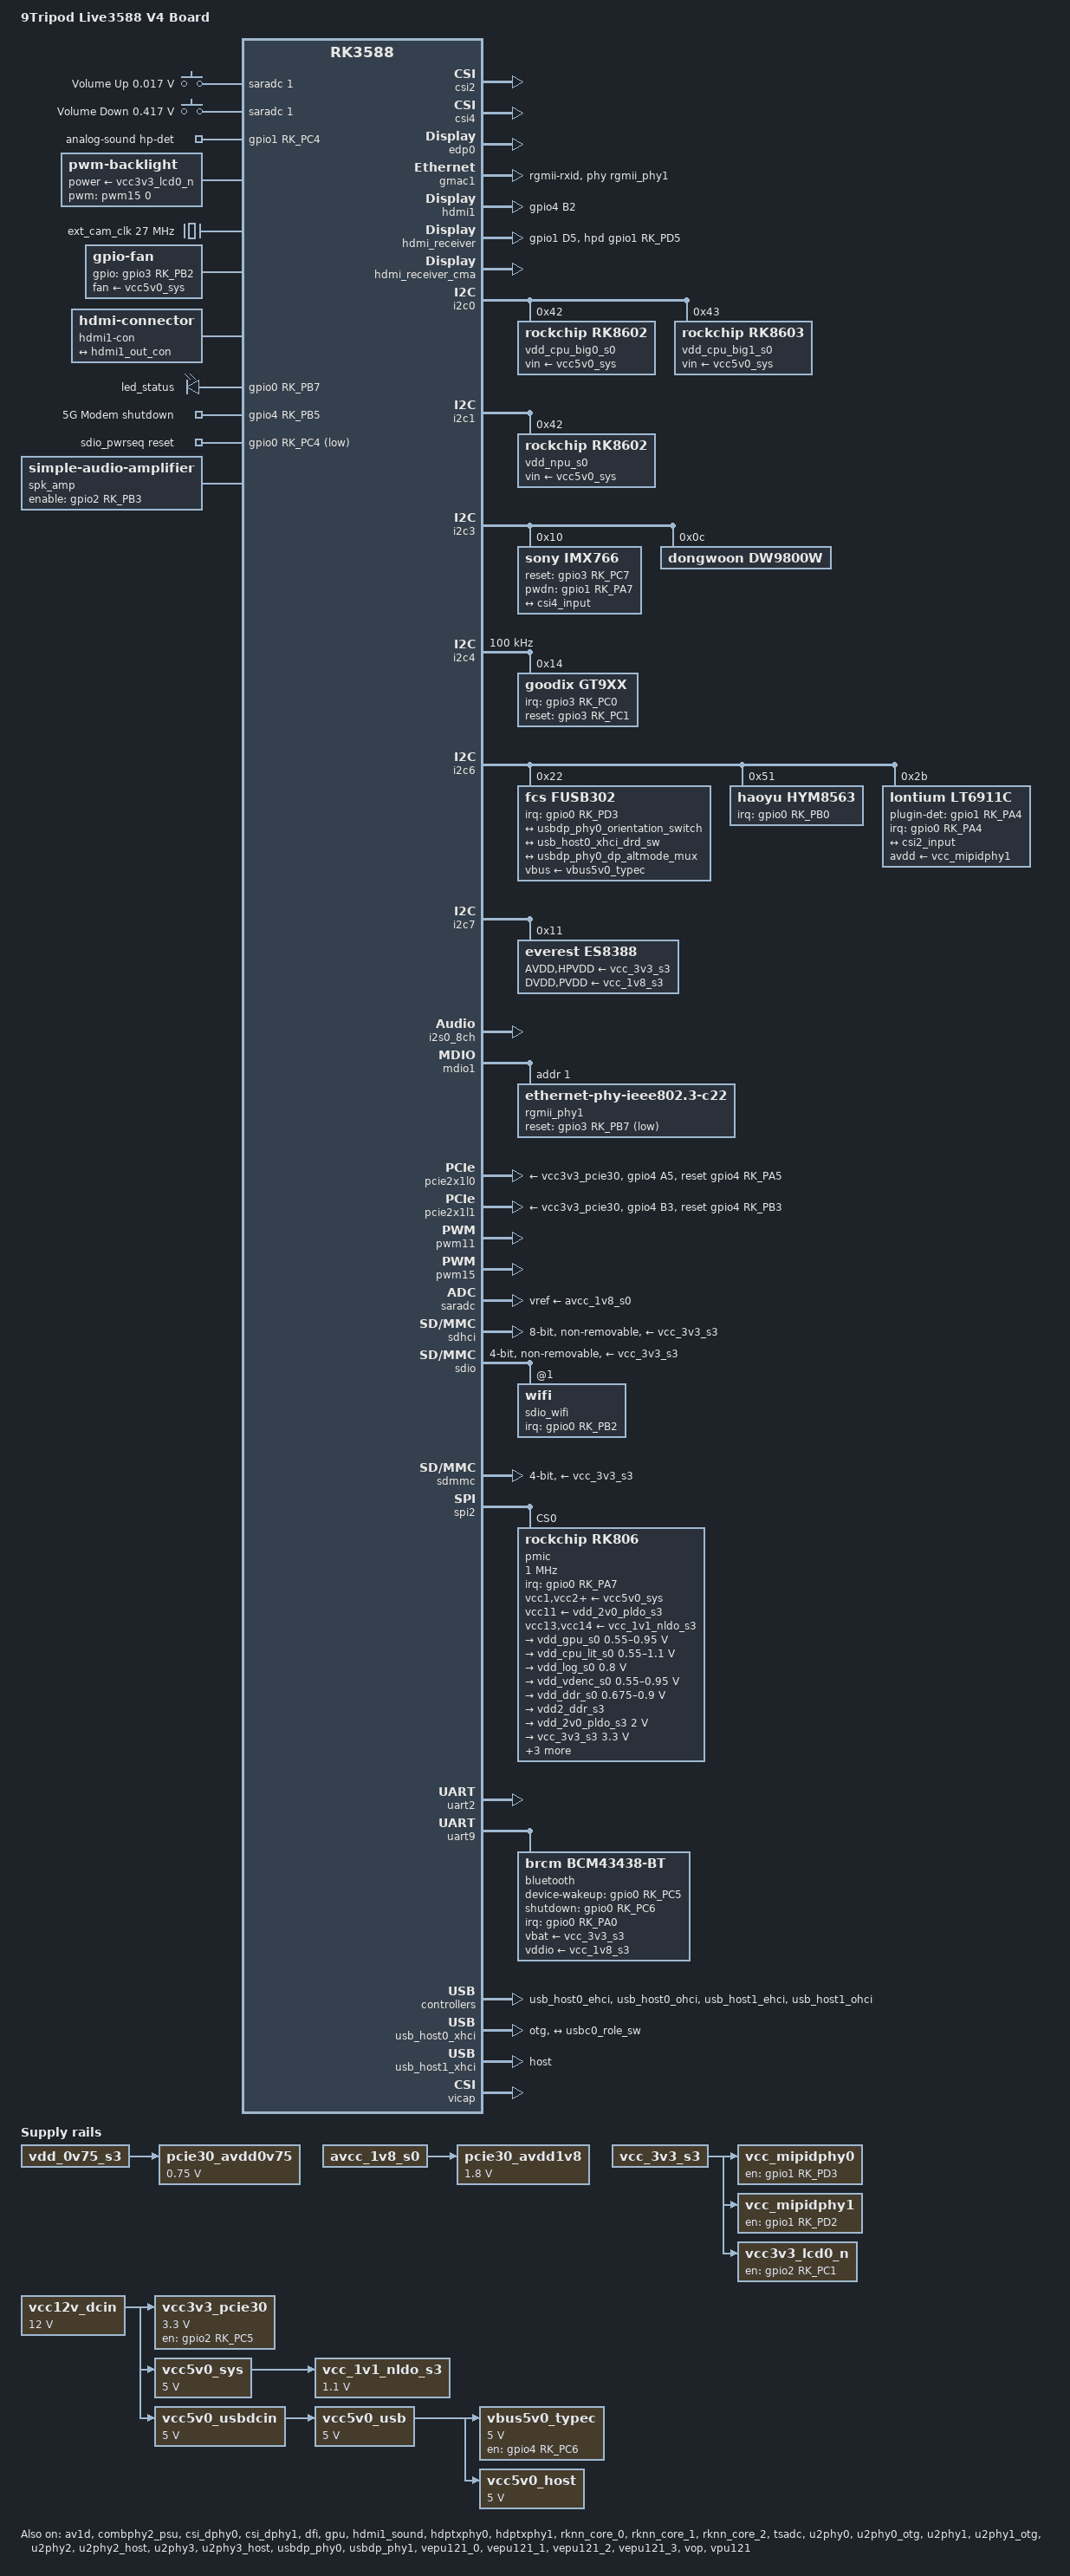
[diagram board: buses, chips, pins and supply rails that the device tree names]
// SPDX-License-Identifier: (GPL-2.0+ OR MIT)
/*
 * Copyright (c) 2026 Yan Jun <jerrysteve1101@gmail.com>
 *
 * Board summary:
 *   - PMIC:          RK806 on SPI0, 21 rails
 *   - CPU bucks:     RK8602/RK8603 on I2C0 (big cores), RK8602 on I2C1
 *   - eMMC + microSD
 *   - GbE:           GMAC1, RGMII-RXID, external PHY @ MDIO 1
 *   - WLAN/BT:       AMPAK AP6275P combo (SDIO WiFi + UART9 BT, 32k from RTC)
 *   - 5G modem:      rfkill-gpio controlled module (wwan)
 *   - Cameras:       IMX766 50MP on I2C3 (-> csi4 / csi_dphy1 / vicap4),
 *                    LT6911C HDMI-to-MIPI bridge on I2C6 (-> csi2 /
 *                    csi_dphy0 / vicap2)
 *   - HDMI1 TX output, HDMI-RX capture (HDCP1x), eDP0 panel;
 *                    DP output wired to USB-C (altmode PHY mux)
 *   - Audio:         ES8388 codec on I2C7 + I2S0
 *   - Type-C:        FUSB302 PD controller on I2C6, DP-altmode capable
 *   - Debug:         UART2 console @ 1500000 baud
 */

/dts-v1/;

#include <dt-bindings/gpio/gpio.h>
#include <dt-bindings/input/input.h>
#include <dt-bindings/interrupt-controller/irq.h>
#include <dt-bindings/leds/common.h>
#include <dt-bindings/media/video-interfaces.h>
#include <dt-bindings/pinctrl/rockchip.h>
#include <dt-bindings/soc/rockchip,vop2.h>
#include <dt-bindings/thermal/thermal.h>
#include <dt-bindings/usb/pd.h>
#include "rk8xx.h"
#include "rk3588.dtsi"

/ {
	model = "9Tripod Live3588 V4 Board";
	compatible = "9tripod,live3588-v4", "rockchip,rk3588";

	adc-keys {
		compatible = "adc-keys";
		io-channels = <&saradc 1>;
		io-channel-names = "buttons";
		keyup-threshold-microvolt = <1800000>;
		poll-interval = <100>;

		button-vol-up {
			label = "Volume Up";
			linux,code = <KEY_VOLUMEUP>;
			press-threshold-microvolt = <17000>;
		};

		button-vol-down {
			label = "Volume Down";
			linux,code = <KEY_VOLUMEDOWN>;
			press-threshold-microvolt = <417000>;
		};
	};

	aliases {
		ethernet0 = &gmac1;
		mmc0 = &sdhci;		/* eMMC */
		mmc1 = &sdmmc;		/* microSD */
		mmc2 = &sdio;		/* WiFi module */
	};

	analog-sound {
		compatible = "simple-audio-card";
		pinctrl-names = "default";
		pinctrl-0 = <&hp_det>;
		simple-audio-card,aux-devs = <&spk_amp>;
		simple-audio-card,name = "9Tripod Live3588 ES8388";
		simple-audio-card,bitclock-master = <&masterdai>;
		simple-audio-card,format = "i2s";
		simple-audio-card,frame-master = <&masterdai>;
		simple-audio-card,hp-det-gpios = <&gpio1 RK_PC4 GPIO_ACTIVE_HIGH>;
		simple-audio-card,mclk-fs = <256>;
		simple-audio-card,pin-switches = "Speaker";
		simple-audio-card,routing =
			"Speaker Amplifier INL", "LOUT2",
			"Speaker Amplifier INR", "ROUT2",
			"Speaker", "Speaker Amplifier OUTL",
			"Speaker", "Speaker Amplifier OUTR",
			"Headphones", "LOUT1",
			"Headphones", "ROUT1",
			"LINPUT1", "Main Mic",
			"LINPUT2", "Main Mic",
			"RINPUT1", "Headset Mic",
			"RINPUT2", "Headset Mic";
		simple-audio-card,widgets =
			"Microphone", "Main Mic",
			"Microphone", "Headset Mic",
			"Headphone", "Headphones",
			"Speaker", "Speaker";

		simple-audio-card,cpu {
			sound-dai = <&i2s0_8ch>;
		};

		masterdai: simple-audio-card,codec {
			sound-dai = <&es8388>;
			system-clock-frequency = <12288000>;
		};
	};

	backlight: backlight {
		compatible = "pwm-backlight";
		pwms = <&pwm15 0 25000 0>;
		brightness-levels = <
			   0   20   20   21   21   22   22   23   23   24   24   25   25
			  26   26   27   27   28   28   29   29   30   30   31   31   32
			  32   33   33   34   34   35   35   36   36   37   37   38   38
			  39   40   41   42   43   44   45   46   47   48   49   50   51
			  52   53   54   55   56   57   58   59   60   61   62   63   64
			  65   66   67   68   69   70   71   72   73   74   75   76   77
			  78   79   80   81   82   83   84   85   86   87   88   89   90
			  91   92   93   94   95   96   97   98   99  100  101  102  103
			 104  105  106  107  108  109  110  111  112  113  114  115  116
			 117  118  119  120  121  122  123  124  125  126  127  128  129
			 130  131  132  133  134  135  136  137  138  139  140  141  142
			 143  144  145  146  147  148  149  150  151  152  153  154  155
			 156  157  158  159  160  161  162  163  164  165  166  167  168
			 169  170  171  172  173  174  175  176  177  178  179  180  181
			 182  183  184  185  186  187  188  189  190  191  192  193  194
			 195  196  197  198  199  200  201  202  203  204  205  206  207
			 208  209  210  211  212  213  214  215  216  217  218  219  220
			 221  222  223  224  225  226  227  228  229  230  231  232  233
			 234  235  236  237  238  239  240  241  242  243  244  245  246
			 247  248  249  250  251  252  253  254  255>;
		default-brightness-level = <200>;
	};

	chosen {
		stdout-path = "serial2:1500000n8";
	};

	/* 27MHz MCLK for the LT6911C HDMI-to-MIPI bridge */
	ext_cam_clk: external-camera-clock {
		compatible = "fixed-clock";
		clock-frequency = <27000000>;
		clock-output-names = "CLK_CAMERA_27MHZ";
		#clock-cells = <0>;
	};

	fan: gpio-fan {
		compatible = "gpio-fan";
		gpios = <&gpio3 RK_PB2 GPIO_ACTIVE_HIGH>;
		gpio-fan,speed-map =
			<0 0>,
			<4500 1>;
		fan-supply = <&vcc5v0_sys>;
		pinctrl-names = "default";
		pinctrl-0 = <&fan_pwren>;
		#cooling-cells = <2>;
	};

	hdmi1-con {
		compatible = "hdmi-connector";
		type = "a";

		port {
			hdmi1_con_in: endpoint {
				remote-endpoint = <&hdmi1_out_con>;
			};
		};
	};

	leds {
		compatible = "gpio-leds";

		led_status: led-status {
			gpios = <&gpio0 RK_PB7 GPIO_ACTIVE_HIGH>;
			function = LED_FUNCTION_STATUS;
		};
	};

	pcie30_avdd0v75: regulator-pcie30-avdd0v75 {
		compatible = "regulator-fixed";
		regulator-name = "pcie30_avdd0v75";
		regulator-always-on;
		regulator-boot-on;
		regulator-min-microvolt = <750000>;
		regulator-max-microvolt = <750000>;
		vin-supply = <&vdd_0v75_s3>;
	};

	pcie30_avdd1v8: regulator-pcie30-avdd1v8 {
		compatible = "regulator-fixed";
		regulator-name = "pcie30_avdd1v8";
		regulator-always-on;
		regulator-boot-on;
		regulator-min-microvolt = <1800000>;
		regulator-max-microvolt = <1800000>;
		vin-supply = <&avcc_1v8_s0>;
	};

	vbus5v0_typec: regulator-vbus5v0-typec {
		compatible = "regulator-fixed";
		enable-active-high;
		gpio = <&gpio4 RK_PC6 GPIO_ACTIVE_HIGH>;
		pinctrl-names = "default";
		pinctrl-0 = <&typec5v_pwren>;
		regulator-name = "vbus5v0_typec";
		regulator-min-microvolt = <5000000>;
		regulator-max-microvolt = <5000000>;
		vin-supply = <&vcc5v0_usb>;
	};

	vcc_1v1_nldo_s3: regulator-vcc-1v1-nldo-s3 {
		compatible = "regulator-fixed";
		regulator-name = "vcc_1v1_nldo_s3";
		regulator-always-on;
		regulator-boot-on;
		regulator-min-microvolt = <1100000>;
		regulator-max-microvolt = <1100000>;
		vin-supply = <&vcc5v0_sys>;
	};

	vcc_mipidphy0: regulator-vcc-mipidphy0 {
		compatible = "regulator-fixed";
		enable-active-high;
		gpio = <&gpio1 RK_PD3 GPIO_ACTIVE_HIGH>;
		pinctrl-names = "default";
		pinctrl-0 = <&mipidphy0_pwren>;
		regulator-name = "vcc_mipidphy0";
		regulator-always-on;
		regulator-boot-on;
		vin-supply = <&vcc_3v3_s3>;
	};

	vcc_mipidphy1: regulator-vcc-mipidphy1 {
		compatible = "regulator-fixed";
		enable-active-high;
		gpio = <&gpio1 RK_PD2 GPIO_ACTIVE_HIGH>;
		pinctrl-names = "default";
		pinctrl-0 = <&mipidphy1_pwren>;
		regulator-name = "vcc_mipidphy1";
		regulator-always-on;
		regulator-boot-on;
		vin-supply = <&vcc_3v3_s3>;
	};

	vcc12v_dcin: regulator-vcc12v-dcin {
		compatible = "regulator-fixed";
		regulator-name = "vcc12v_dcin";
		regulator-always-on;
		regulator-boot-on;
		regulator-min-microvolt = <12000000>;
		regulator-max-microvolt = <12000000>;
	};

	vcc3v3_lcd0_n: regulator-vcc3v3-lcd0-n {
		compatible = "regulator-fixed";
		enable-active-high;
		gpio = <&gpio2 RK_PC1 GPIO_ACTIVE_HIGH>;
		pinctrl-names = "default";
		pinctrl-0 = <&lcd_pwren>;
		regulator-name = "vcc3v3_lcd0_n";
		regulator-always-on;
		regulator-boot-on;
		vin-supply = <&vcc_3v3_s3>;
	};

	vcc3v3_pcie30: regulator-vcc3v3-pcie30 {
		compatible = "regulator-fixed";
		enable-active-high;
		gpio = <&gpio2 RK_PC5 GPIO_ACTIVE_HIGH>;
		pinctrl-names = "default";
		pinctrl-0 = <&pcie3v3_pwren>;
		regulator-name = "vcc3v3_pcie30";
		regulator-boot-on;
		regulator-min-microvolt = <3300000>;
		regulator-max-microvolt = <3300000>;
		startup-delay-us = <5000>;
		vin-supply = <&vcc12v_dcin>;
	};

	vcc5v0_host: regulator-vcc5v0-host {
		compatible = "regulator-fixed";
		regulator-name = "vcc5v0_host";
		regulator-always-on;
		regulator-boot-on;
		regulator-min-microvolt = <5000000>;
		regulator-max-microvolt = <5000000>;
		vin-supply = <&vcc5v0_usb>;
	};

	vcc5v0_sys: regulator-vcc5v0-sys {
		compatible = "regulator-fixed";
		regulator-name = "vcc5v0_sys";
		regulator-always-on;
		regulator-boot-on;
		regulator-min-microvolt = <5000000>;
		regulator-max-microvolt = <5000000>;
		vin-supply = <&vcc12v_dcin>;
	};

	vcc5v0_usb: regulator-vcc5v0-usb {
		compatible = "regulator-fixed";
		regulator-name = "vcc5v0_usb";
		regulator-always-on;
		regulator-boot-on;
		regulator-min-microvolt = <5000000>;
		regulator-max-microvolt = <5000000>;
		vin-supply = <&vcc5v0_usbdcin>;
	};

	vcc5v0_usbdcin: regulator-vcc5v0-usbdcin {
		compatible = "regulator-fixed";
		regulator-name = "vcc5v0_usbdcin";
		regulator-always-on;
		regulator-boot-on;
		regulator-min-microvolt = <5000000>;
		regulator-max-microvolt = <5000000>;
		vin-supply = <&vcc12v_dcin>;
	};

	/*
	 * 5G modem module, GPIO power control via rfkill. Only the
	 * power GPIO is described; there is no mainline binding for
	 * the module supply-enable (GPIO2_B1) and reset (GPIO4_B6)
	 * GPIOs, so they are left out.
	 */
	rfkill_5g_modem: rfkill-5g-modem {
		compatible = "rfkill-gpio";
		label = "5G Modem";
		radio-type = "wwan";
		shutdown-gpios = <&gpio4 RK_PB5 GPIO_ACTIVE_HIGH>;
	};

	sdio_pwrseq: sdio-pwrseq {
		compatible = "mmc-pwrseq-simple";
		clocks = <&hym8563>;
		clock-names = "ext_clock";
		pinctrl-names = "default";
		pinctrl-0 = <&wifi_enable_h>;
		post-power-on-delay-ms = <200>;
		reset-gpios = <&gpio0 RK_PC4 GPIO_ACTIVE_LOW>;
	};

	spk_amp: speaker-amplifier {
		compatible = "simple-audio-amplifier";
		enable-gpios = <&gpio2 RK_PB3 GPIO_ACTIVE_HIGH>;
		pinctrl-names = "default";
		pinctrl-0 = <&spk_con>;
		sound-name-prefix = "Speaker Amplifier";
	};

};

&av1d {
	status = "okay";
};

&av1d_mmu {
	status = "okay";
};

&backlight {
	power-supply = <&vcc3v3_lcd0_n>;
};

&cpu_b0 {
	cpu-supply = <&vdd_cpu_big0_s0>;
};

&cpu_b2 {
	cpu-supply = <&vdd_cpu_big1_s0>;
};

&cpu_l0 {
	cpu-supply = <&vdd_cpu_lit_s0>;
};

/* PIPE PHY used by pcie2x1l1 (PHY_TYPE_PCIE) */
&combphy2_psu {
	status = "okay";
};

&csi2 {
	status = "okay";
};

&csi2_in {
	csi2_input: endpoint {
		bus-type = <MEDIA_BUS_TYPE_CSI2_DPHY>;
		data-lanes = <1 2 3 4>;
		remote-endpoint = <&lt6911c_out>;
	};
};

/* Camera capture path A: IMX766 -> csi4 (csi_dphy1) -> vicap4 */
&csi4 {
	status = "okay";
};

&csi4_in {
	csi4_input: endpoint {
		bus-type = <MEDIA_BUS_TYPE_CSI2_DPHY>;
		data-lanes = <1 2 3 4>;
		remote-endpoint = <&imx766_out>;
	};
};

&csi_dphy0 {
	status = "okay";
};

&csi_dphy1 {
	status = "okay";
};

/* DDR load statistics (DDR devfreq governor is not supported yet) */
&dfi {
	status = "okay";
};

&edp0 {
	force-hpd;
	status = "okay";

	aux-bus {
		panel {
			compatible = "edp-panel";
			backlight = <&backlight>;
			power-supply = <&vcc3v3_lcd0_n>;
			no-hpd;

			port {
				panel_in_edp0: endpoint {
					remote-endpoint = <&edp0_out_panel>;
				};
			};
		};
	};
};

&edp0_in {
	edp0_in_vp2: endpoint {
		remote-endpoint = <&vp2_out_edp0>;
	};
};

&edp0_out {
	edp0_out_panel: endpoint {
		remote-endpoint = <&panel_in_edp0>;
	};
};

&gmac1 {
	clock_in_out = "output";
	phy-handle = <&rgmii_phy1>;
	phy-mode = "rgmii-rxid";
	pinctrl-0 = <&gmac1_miim
		     &gmac1_tx_bus2
		     &gmac1_rx_bus2
		     &gmac1_rgmii_clk
		     &gmac1_rgmii_bus>;
	pinctrl-names = "default";
	tx_delay = <0x44>;
	status = "okay";
};

&gpu {
	mali-supply = <&vdd_gpu_s0>;
	status = "okay";
};

/* Display output: HDMI1 */
&hdmi1 {
	frl-enable-gpios = <&gpio4 RK_PB2 GPIO_ACTIVE_HIGH>;
	pinctrl-names = "default";
	pinctrl-0 = <&hdmim2_tx1_cec &hdmim0_tx1_hpd &hdmi1_tx_on_h
		     &hdmim1_tx1_scl &hdmim1_tx1_sda>;
	status = "okay";
};

&hdmi1_in {
	hdmi1_in_vp1: endpoint {
		remote-endpoint = <&vp1_out_hdmi1>;
	};
};

&hdmi1_out {
	hdmi1_out_con: endpoint {
		remote-endpoint = <&hdmi1_con_in>;
	};
};

&hdmi1_sound {
	status = "okay";
};

&hdmi_receiver {
	hpd-gpios = <&gpio1 RK_PD5 GPIO_ACTIVE_HIGH>;
	pinctrl-0 = <&hdmim1_rx_cec &hdmim1_rx_hpdin &hdmim1_rx_scl &hdmim1_rx_sda &hdmirx_det>;
	pinctrl-names = "default";
	status = "okay";
};

/* HDMI input capture */
&hdmi_receiver_cma {
	status = "okay";
};

/* PIPE PHY used by edp0 (dp mode) */
&hdptxphy0 {
	status = "okay";
};

&hdptxphy1 {
	status = "okay";
};

&i2c0 {
	pinctrl-names = "default";
	pinctrl-0 = <&i2c0m2_xfer>;
	status = "okay";

	vdd_cpu_big0_s0: regulator@42 {
		compatible = "rockchip,rk8602";
		reg = <0x42>;
		fcs,suspend-voltage-selector = <1>;
		regulator-name = "vdd_cpu_big0_s0";
		regulator-always-on;
		regulator-boot-on;
		regulator-min-microvolt = <550000>;
		regulator-max-microvolt = <1100000>;
		regulator-ramp-delay = <2300>;
		vin-supply = <&vcc5v0_sys>;

		regulator-state-mem {
			regulator-off-in-suspend;
		};
	};

	vdd_cpu_big1_s0: regulator@43 {
		compatible = "rockchip,rk8603", "rockchip,rk8602";
		reg = <0x43>;
		fcs,suspend-voltage-selector = <1>;
		regulator-name = "vdd_cpu_big1_s0";
		regulator-always-on;
		regulator-boot-on;
		regulator-min-microvolt = <550000>;
		regulator-max-microvolt = <1100000>;
		regulator-ramp-delay = <2300>;
		vin-supply = <&vcc5v0_sys>;

		regulator-state-mem {
			regulator-off-in-suspend;
		};
	};
};

&i2c1 {
	pinctrl-names = "default";
	pinctrl-0 = <&i2c1m2_xfer>;
	status = "okay";

	vdd_npu_s0: regulator@42 {
		compatible = "rockchip,rk8602";
		reg = <0x42>;
		fcs,suspend-voltage-selector = <1>;
		regulator-name = "vdd_npu_s0";
		regulator-always-on;
		regulator-boot-on;
		regulator-min-microvolt = <550000>;
		regulator-max-microvolt = <950000>;
		regulator-ramp-delay = <2300>;
		vin-supply = <&vcc5v0_sys>;

		regulator-state-mem {
			regulator-off-in-suspend;
		};
	};
};

/* Camera path A: IMX766 50MP sensor + VCM + OTP */
&i2c3 {
	status = "okay";

	/*
	 * Mainline has no imx766 driver yet; the node is kept for the
	 * capture pipeline description and for when support lands.
	 */
	imx766: camera-sensor@10 {
		compatible = "sony,imx766";
		reg = <0x10>;
		assigned-clocks = <&cru CLK_MIPI_CAMARAOUT_M3>;
		assigned-clock-rates = <24000000>;
		clocks = <&cru CLK_MIPI_CAMARAOUT_M3>;
		pinctrl-names = "default";
		pinctrl-0 = <&cam0_rst &mipim0_camera3_clk>;
		reset-gpios = <&gpio3 RK_PC7 GPIO_ACTIVE_HIGH>;
		pwdn-gpios = <&gpio1 RK_PA7 GPIO_ACTIVE_HIGH>;
		orientation = <2>; /* External */

		port {
			imx766_out: endpoint {
				data-lanes = <1 2 3 4>;
				remote-endpoint = <&csi4_input>;
			};
		};
	};

	/*
	 * Focus VCM of the IMX766 camera module.
	 * Mainline has dw9768/dw9807 drivers but no dw9800w support yet.
	 */
	dw9800w: lens-focus@c {
		compatible = "dongwoon,dw9800w";
		reg = <0x0c>;
	};
};

/* Touch panel */
&i2c4 {
	clock-frequency = <100000>;
	pinctrl-names = "default";
	pinctrl-0 = <&i2c4m1_xfer>;
	status = "okay";

	gt9xx: touchscreen@14 {
		/*
		 * The mainline goodix driver matches on concrete chip
		 * names (gt911, gt9271, ...), so this generic name needs
		 * to be updated once the actual controller on the touch
		 * panel is identified.
		 */
		compatible = "goodix,gt9xx";
		reg = <0x14>;
		interrupt-parent = <&gpio3>;
		interrupts = <RK_PC0 IRQ_TYPE_EDGE_FALLING>;
		irq-gpios = <&gpio3 RK_PC0 GPIO_ACTIVE_HIGH>;
		reset-gpios = <&gpio3 RK_PC1 GPIO_ACTIVE_HIGH>;
		touchscreen-size-x = <1080>;
		touchscreen-size-y = <1920>;
		pinctrl-names = "default";
		pinctrl-0 = <&touch_int &touch_rst>;
	};
};

/* Type-C PD, RTC and HDMI-to-MIPI bridge */
&i2c6 {
	status = "okay";

	fusb302: typec-portc@22 {
		compatible = "fcs,fusb302";
		reg = <0x22>;
		interrupt-parent = <&gpio0>;
		interrupts = <RK_PD3 IRQ_TYPE_LEVEL_LOW>;
		pinctrl-names = "default";
		pinctrl-0 = <&usbc0_int>;
		vbus-supply = <&vbus5v0_typec>;

		usb_con: connector {
			compatible = "usb-c-connector";
			data-role = "dual";
			label = "USB-C";
			power-role = "dual";
			try-power-role = "sink";
			source-pdos = <PDO_FIXED(5000, 3000, PDO_FIXED_USB_COMM)>;
			sink-pdos = <PDO_FIXED(5000, 3000, PDO_FIXED_USB_COMM)>;
			op-sink-microwatt = <1000000>;

			ports {
				#address-cells = <1>;
				#size-cells = <0>;

				port@0 {
					reg = <0>;

					usbc0_orien_sw: endpoint {
						remote-endpoint = <&usbdp_phy0_orientation_switch>;
					};
				};

				port@1 {
					reg = <1>;

					usbc0_role_sw: endpoint {
						remote-endpoint = <&usb_host0_xhci_drd_sw>;
					};
				};

				/*
				 * DP altmode on the USB-C connector. Only the PHY
				 * mux wiring is described; the dp0 controller is
				 * not wired up yet, matching the level of
				 * mainline support.
				 */
				port@2 {
					reg = <2>;

					dp_altmode_mux: endpoint {
						remote-endpoint = <&usbdp_phy0_dp_altmode_mux>;
					};
				};
			};
		};
	};

	hym8563: rtc@51 {
		compatible = "haoyu,hym8563";
		reg = <0x51>;
		#clock-cells = <0>;
		clock-output-names = "hym8563";
		pinctrl-names = "default";
		pinctrl-0 = <&hym8563_int>;
		interrupt-parent = <&gpio0>;
		interrupts = <RK_PB0 IRQ_TYPE_LEVEL_LOW>;
		wakeup-source;
	};

	/*
	 * HDMI input is converted to MIPI CSI-2 by an LT6911C and is
	 * captured through the csi2/vicap pipeline. Mainline has no
	 * LT6911C driver yet, so this node only describes the board
	 * wiring.
	 */
	lt6911c: hdmi-mipi-bridge@2b {
		compatible = "lontium,lt6911c";
		reg = <0x2b>;
		clocks = <&ext_cam_clk>;
		clock-names = "xvclk";
		interrupt-parent = <&gpio0>;
		interrupts = <RK_PA4 IRQ_TYPE_EDGE_RISING>;
		plugin-det-gpios = <&gpio1 RK_PA4 GPIO_ACTIVE_HIGH>;
		avdd-supply = <&vcc_mipidphy1>;
		pinctrl-names = "default";
		pinctrl-0 = <&hdmi_plugin_det>;

		port {
			lt6911c_out: endpoint {
				data-lanes = <1 2 3 4>;
				remote-endpoint = <&csi2_input>;
			};
		};
	};
};

/* Audio codec */
&i2c7 {
	status = "okay";

	es8388: audio-codec@11 {
		compatible = "everest,es8388", "everest,es8328";
		reg = <0x11>;
		clocks = <&cru I2S0_8CH_MCLKOUT>;
		assigned-clocks = <&cru I2S0_8CH_MCLKOUT>;
		assigned-clock-rates = <12288000>;
		AVDD-supply = <&vcc_3v3_s3>;
		DVDD-supply = <&vcc_1v8_s3>;
		HPVDD-supply = <&vcc_3v3_s3>;
		PVDD-supply = <&vcc_1v8_s3>;
		#sound-dai-cells = <0>;
	};
};

&i2s0_8ch {
	pinctrl-names = "default";
	pinctrl-0 = <&i2s0_lrck
		     &i2s0_mclk
		     &i2s0_sclk
		     &i2s0_sdi0
		     &i2s0_sdo0>;
	status = "okay";
};

&mdio1 {
	rgmii_phy1: ethernet-phy@1 {
		compatible = "ethernet-phy-ieee802.3-c22";
		reg = <0x1>;
		reset-assert-us = <20000>;
		reset-deassert-us = <100000>;
		reset-gpios = <&gpio3 RK_PB7 GPIO_ACTIVE_LOW>;
	};
};

&package_thermal {
	polling-delay = <1000>;

	trips {
		package_warm: package-warm {
			temperature = <60000>;
			hysteresis = <2000>;
			type = "active";
		};
	};

	cooling-maps {
		map0 {
			trip = <&package_warm>;
			cooling-device = <&fan THERMAL_NO_LIMIT THERMAL_NO_LIMIT>;
		};
	};
};

&pcie2x1l0 {
	reset-gpios = <&gpio4 RK_PA5 GPIO_ACTIVE_HIGH>;
	vpcie3v3-supply = <&vcc3v3_pcie30>;
	pinctrl-names = "default";
	pinctrl-0 = <&pcie2_0_rst>;
	status = "okay";
};

&pcie2x1l1 {
	reset-gpios = <&gpio4 RK_PB3 GPIO_ACTIVE_HIGH>;
	vpcie3v3-supply = <&vcc3v3_pcie30>;
	pinctrl-names = "default";
	pinctrl-0 = <&pcie2_1_rst>;
	status = "okay";
};

&pinctrl {
	bt {
		bt_reset_pin: bt-reset-pin {
			rockchip,pins = <0 RK_PC6 RK_FUNC_GPIO &pcfg_pull_none>;
		};

		bt_wake_pin: bt-wake-pin {
			rockchip,pins = <0 RK_PC5 RK_FUNC_GPIO &pcfg_pull_up>;
		};

		bt_wake_host_irq: bt-wake-host-irq {
			rockchip,pins = <0 RK_PA0 RK_FUNC_GPIO &pcfg_pull_down>;
		};
	};

	cam {
		cam0_rst: cam0-rst {
			rockchip,pins = <3 RK_PC7 RK_FUNC_GPIO &pcfg_pull_none>;
		};

		hdmi_plugin_det: hdmi-plugin-det {
			rockchip,pins = <1 RK_PA4 RK_FUNC_GPIO &pcfg_pull_none>;
		};

		mipidphy0_pwren: mipidphy0-pwren {
			rockchip,pins = <1 RK_PD3 RK_FUNC_GPIO &pcfg_pull_none>;
		};

		mipidphy1_pwren: mipidphy1-pwren {
			rockchip,pins = <1 RK_PD2 RK_FUNC_GPIO &pcfg_pull_none>;
		};
	};

	fan {
		fan_pwren: fan-pwren {
			rockchip,pins = <3 RK_PB2 RK_FUNC_GPIO &pcfg_pull_none>;
		};
	};

	hdmirx {
		hdmirx_det: hdmirx-5v-detection {
			rockchip,pins = <1 RK_PD5 RK_FUNC_GPIO &pcfg_pull_none>;
		};
	};

	hdmi {
		hdmi1_tx_on_h: hdmi1-tx-on-h {
			rockchip,pins = <4 RK_PB2 RK_FUNC_GPIO &pcfg_pull_none>;
		};
	};

	headphone {
		hp_det: hp-det {
			rockchip,pins = <1 RK_PC4 RK_FUNC_GPIO &pcfg_pull_none>;
		};

		spk_con: spk-con {
			rockchip,pins = <2 RK_PB3 RK_FUNC_GPIO &pcfg_pull_none>;
		};
	};

	hym8563 {
		hym8563_int: hym8563-int {
			rockchip,pins = <0 RK_PB0 RK_FUNC_GPIO &pcfg_pull_up>;
		};
	};

	lcd {
		lcd_pwren: lcd-pwren {
			rockchip,pins = <2 RK_PC1 RK_FUNC_GPIO &pcfg_pull_none>;
		};
	};

	pcie {
		pcie3v3_pwren: pcie3v3-pwren {
			rockchip,pins = <2 RK_PC5 RK_FUNC_GPIO &pcfg_pull_none>;
		};

		pcie2_0_rst: pcie2-0-rst {
			rockchip,pins = <4 RK_PA5 RK_FUNC_GPIO &pcfg_pull_none>;
		};

		pcie2_1_rst: pcie2-1-rst {
			rockchip,pins = <4 RK_PB3 RK_FUNC_GPIO &pcfg_pull_up>;
		};
	};

	touchscreen {
		touch_int: touch-int {
			rockchip,pins = <3 RK_PC0 RK_FUNC_GPIO &pcfg_pull_none>;
		};

		touch_rst: touch-rst {
			rockchip,pins = <3 RK_PC1 RK_FUNC_GPIO &pcfg_pull_up>;
		};
	};

	usb-typec {
		typec5v_pwren: typec5v-pwren {
			rockchip,pins = <4 RK_PC6 RK_FUNC_GPIO &pcfg_pull_none>;
		};

		usbc0_int: usbc0-int {
			rockchip,pins = <0 RK_PD3 RK_FUNC_GPIO &pcfg_pull_up>;
		};
	};

	wireless-wlan {
		wifi_enable_h: wifi-enable-h {
			rockchip,pins = <0 RK_PC4 RK_FUNC_GPIO &pcfg_pull_none>;
		};

		wifi_host_wake_irq: wifi-host-wake-irq {
			rockchip,pins = <0 RK_PB2 RK_FUNC_GPIO &pcfg_pull_none>;
		};
	};
};

/*
 * PWM11 is routed to an IR receiver circuit that requires PWM
 * capture based decoding, which the mainline gpio-ir-receiver
 * driver does not support. PWM11 is left as a plain PWM channel
 * for now.
 */
&pwm11 {
	pinctrl-names = "default";
	pinctrl-0 = <&pwm11m1_pins>;
	status = "okay";
};

&pwm15 {
	pinctrl-names = "default";
	pinctrl-0 = <&pwm15m2_pins>;
	status = "okay";
};

&rknn_core_0 {
	npu-supply = <&vdd_npu_s0>;
	sram-supply = <&vdd_npu_s0>;
	status = "okay";
};

&rknn_core_1 {
	npu-supply = <&vdd_npu_s0>;
	sram-supply = <&vdd_npu_s0>;
	status = "okay";
};

&rknn_core_2 {
	npu-supply = <&vdd_npu_s0>;
	sram-supply = <&vdd_npu_s0>;
	status = "okay";
};

&rknn_mmu_0 {
	status = "okay";
};

&rknn_mmu_1 {
	status = "okay";
};

&rknn_mmu_2 {
	status = "okay";
};

&saradc {
	vref-supply = <&avcc_1v8_s0>;
	status = "okay";
};

&sdhci {
	bus-width = <8>;
	no-sdio;
	no-sd;
	non-removable;
	max-frequency = <200000000>;
	mmc-hs400-1_8v;
	mmc-hs400-enhanced-strobe;
	vmmc-supply = <&vcc_3v3_s3>;
	vqmmc-supply = <&vcc_1v8_s3>;
	status = "okay";
};

/* WiFi part of the AMPAK AP6275P module */
&sdio {
	#address-cells = <1>;
	#size-cells = <0>;
	bus-width = <4>;
	cap-sd-highspeed;
	cap-sdio-irq;
	keep-power-in-suspend;
	max-frequency = <150000000>;
	mmc-pwrseq = <&sdio_pwrseq>;
	no-mmc;
	no-sd;
	non-removable;
	sd-uhs-sdr104;
	vmmc-supply = <&vcc_3v3_s3>;
	vqmmc-supply = <&vcc_1v8_s3>;
	status = "okay";

	sdio_wifi: wifi@1 {
		reg = <1>;
		interrupt-parent = <&gpio0>;
		interrupts = <RK_PB2 IRQ_TYPE_EDGE_RISING>;
		interrupt-names = "host-wake";
		pinctrl-names = "default";
		pinctrl-0 = <&wifi_host_wake_irq>;
	};
};

&sdmmc {
	bus-width = <4>;
	cap-mmc-highspeed;
	cap-sd-highspeed;
	disable-wp;
	no-sdio;
	no-mmc;
	sd-uhs-sdr104;
	vmmc-supply = <&vcc_3v3_s3>;
	vqmmc-supply = <&vccio_sd_s0>;
	status = "okay";
};

&spi2 {
	status = "okay";

	pmic@0 {
		compatible = "rockchip,rk806";
		reg = <0x0>;
		interrupt-parent = <&gpio0>;
		interrupts = <RK_PA7 IRQ_TYPE_LEVEL_LOW>;
		gpio-controller;
		#gpio-cells = <2>;
		pinctrl-names = "default";
		pinctrl-0 = <&pmic_pins>, <&rk806_dvs1_null>,
			    <&rk806_dvs2_null>, <&rk806_dvs3_null>;
		spi-max-frequency = <1000000>;
		system-power-controller;
		rockchip,reset-mode = <RK806_RESET>;
		vcc1-supply = <&vcc5v0_sys>;
		vcc2-supply = <&vcc5v0_sys>;
		vcc3-supply = <&vcc5v0_sys>;
		vcc4-supply = <&vcc5v0_sys>;
		vcc5-supply = <&vcc5v0_sys>;
		vcc6-supply = <&vcc5v0_sys>;
		vcc7-supply = <&vcc5v0_sys>;
		vcc8-supply = <&vcc5v0_sys>;
		vcc9-supply = <&vcc5v0_sys>;
		vcc10-supply = <&vcc5v0_sys>;
		vcc11-supply = <&vdd_2v0_pldo_s3>;
		vcc12-supply = <&vcc5v0_sys>;
		vcc13-supply = <&vcc_1v1_nldo_s3>;
		vcc14-supply = <&vcc_1v1_nldo_s3>;
		vcca-supply = <&vcc5v0_sys>;

		rk806_dvs1_null: dvs1-null-pins {
			pins = "gpio_pwrctrl1";
			function = "pin_fun0";
		};

		rk806_dvs2_null: dvs2-null-pins {
			pins = "gpio_pwrctrl2";
			function = "pin_fun0";
		};

		rk806_dvs3_null: dvs3-null-pins {
			pins = "gpio_pwrctrl3";
			function = "pin_fun0";
		};

		regulators {
			vdd_gpu_s0: dcdc-reg1 {
				regulator-boot-on;
				regulator-min-microvolt = <550000>;
				regulator-max-microvolt = <950000>;
				regulator-ramp-delay = <12500>;
				regulator-name = "vdd_gpu_s0";
				regulator-enable-ramp-delay = <400>;

				regulator-state-mem {
					regulator-off-in-suspend;
				};
			};

			vdd_cpu_lit_s0: dcdc-reg2 {
				regulator-always-on;
				regulator-boot-on;
				regulator-min-microvolt = <550000>;
				regulator-max-microvolt = <1100000>;
				regulator-ramp-delay = <12500>;
				regulator-name = "vdd_cpu_lit_s0";

				regulator-state-mem {
					regulator-off-in-suspend;
				};
			};

			vdd_log_s0: dcdc-reg3 {
				regulator-always-on;
				regulator-boot-on;
				regulator-min-microvolt = <800000>;
				regulator-max-microvolt = <800000>;
				regulator-ramp-delay = <12500>;
				regulator-name = "vdd_log_s0";

				regulator-state-mem {
					regulator-off-in-suspend;
				};
			};

			vdd_vdenc_s0: dcdc-reg4 {
				regulator-always-on;
				regulator-boot-on;
				regulator-min-microvolt = <550000>;
				regulator-max-microvolt = <950000>;
				regulator-ramp-delay = <12500>;
				regulator-name = "vdd_vdenc_s0";

				regulator-state-mem {
					regulator-off-in-suspend;
				};
			};

			vdd_ddr_s0: dcdc-reg5 {
				regulator-always-on;
				regulator-boot-on;
				regulator-min-microvolt = <675000>;
				regulator-max-microvolt = <900000>;
				regulator-ramp-delay = <12500>;
				regulator-name = "vdd_ddr_s0";

				regulator-state-mem {
					regulator-off-in-suspend;
				};
			};

			vdd2_ddr_s3: dcdc-reg6 {
				regulator-always-on;
				regulator-boot-on;
				regulator-name = "vdd2_ddr_s3";

				regulator-state-mem {
					regulator-on-in-suspend;
				};
			};

			vdd_2v0_pldo_s3: dcdc-reg7 {
				regulator-always-on;
				regulator-boot-on;
				regulator-min-microvolt = <2000000>;
				regulator-max-microvolt = <2000000>;
				regulator-name = "vdd_2v0_pldo_s3";

				regulator-state-mem {
					regulator-on-in-suspend;
				};
			};

			vcc_3v3_s3: dcdc-reg8 {
				regulator-always-on;
				regulator-boot-on;
				regulator-min-microvolt = <3300000>;
				regulator-max-microvolt = <3300000>;
				regulator-name = "vcc_3v3_s3";

				regulator-state-mem {
					regulator-on-in-suspend;
				};
			};

			vddq_ddr_s0: dcdc-reg9 {
				regulator-always-on;
				regulator-boot-on;
				regulator-name = "vddq_ddr_s0";

				regulator-state-mem {
					regulator-off-in-suspend;
				};
			};

			vcc_1v8_s3: dcdc-reg10 {
				regulator-always-on;
				regulator-boot-on;
				regulator-min-microvolt = <1800000>;
				regulator-max-microvolt = <1800000>;
				regulator-name = "vcc_1v8_s3";

				regulator-state-mem {
					regulator-on-in-suspend;
				};
			};

			avcc_1v8_s0: pldo-reg1 {
				regulator-always-on;
				regulator-boot-on;
				regulator-min-microvolt = <1800000>;
				regulator-max-microvolt = <1800000>;
				regulator-name = "avcc_1v8_s0";

				regulator-state-mem {
					regulator-off-in-suspend;
				};
			};

			vcc_1v8_s0: pldo-reg2 {
				regulator-always-on;
				regulator-boot-on;
				regulator-min-microvolt = <1800000>;
				regulator-max-microvolt = <1800000>;
				regulator-name = "vcc_1v8_s0";

				regulator-state-mem {
					regulator-off-in-suspend;
				};
			};

			avdd_1v2_s0: pldo-reg3 {
				regulator-always-on;
				regulator-boot-on;
				regulator-min-microvolt = <1200000>;
				regulator-max-microvolt = <1200000>;
				regulator-name = "avdd_1v2_s0";

				regulator-state-mem {
					regulator-off-in-suspend;
				};
			};

			vcc_3v3_s0: pldo-reg4 {
				regulator-always-on;
				regulator-boot-on;
				regulator-min-microvolt = <3300000>;
				regulator-max-microvolt = <3300000>;
				regulator-name = "vcc_3v3_s0";

				regulator-state-mem {
					regulator-off-in-suspend;
				};
			};

			vccio_sd_s0: pldo-reg5 {
				regulator-always-on;
				regulator-boot-on;
				regulator-min-microvolt = <1800000>;
				regulator-max-microvolt = <3300000>;
				regulator-ramp-delay = <12500>;
				regulator-name = "vccio_sd_s0";

				regulator-state-mem {
					regulator-off-in-suspend;
				};
			};

			pldo6_s3: pldo-reg6 {
				regulator-always-on;
				regulator-boot-on;
				regulator-min-microvolt = <1800000>;
				regulator-max-microvolt = <1800000>;
				regulator-name = "pldo6_s3";

				regulator-state-mem {
					regulator-on-in-suspend;
				};
			};

			vdd_0v75_s3: nldo-reg1 {
				regulator-always-on;
				regulator-boot-on;
				regulator-min-microvolt = <750000>;
				regulator-max-microvolt = <750000>;
				regulator-name = "vdd_0v75_s3";

				regulator-state-mem {
					regulator-on-in-suspend;
				};
			};

			vdd_ddr_pll_s0: nldo-reg2 {
				regulator-always-on;
				regulator-boot-on;
				regulator-min-microvolt = <850000>;
				regulator-max-microvolt = <850000>;
				regulator-name = "vdd_ddr_pll_s0";

				regulator-state-mem {
					regulator-off-in-suspend;
				};
			};

			avdd_0v75_s0: nldo-reg3 {
				regulator-always-on;
				regulator-boot-on;
				regulator-min-microvolt = <750000>;
				regulator-max-microvolt = <750000>;
				regulator-name = "avdd_0v75_s0";

				regulator-state-mem {
					regulator-off-in-suspend;
				};
			};

			vdd_0v85_s0: nldo-reg4 {
				regulator-always-on;
				regulator-boot-on;
				regulator-min-microvolt = <850000>;
				regulator-max-microvolt = <850000>;
				regulator-name = "vdd_0v85_s0";

				regulator-state-mem {
					regulator-off-in-suspend;
				};
			};

			vdd_0v75_s0: nldo-reg5 {
				regulator-always-on;
				regulator-boot-on;
				regulator-min-microvolt = <750000>;
				regulator-max-microvolt = <750000>;
				regulator-name = "vdd_0v75_s0";

				regulator-state-mem {
					regulator-off-in-suspend;
				};
			};
		};
	};
};

&tsadc {
	status = "okay";
};

&u2phy0 {
	status = "okay";
};

&u2phy0_otg {
	status = "okay";
};

&u2phy1 {
	status = "okay";
};

&u2phy1_otg {
	status = "okay";
};

&u2phy2 {
	status = "okay";
};

&u2phy2_host {
	status = "okay";
};

&u2phy3 {
	status = "okay";
};

&u2phy3_host {
	status = "okay";
};

&uart2 {
	pinctrl-0 = <&uart2m0_xfer>;
	pinctrl-names = "default";
	status = "okay";
};

/* Bluetooth part of the AMPAK AP6275P module */
&uart9 {
	pinctrl-names = "default";
	pinctrl-0 = <&uart9m0_xfer &uart9m0_ctsn &uart9m0_rtsn>;
	status = "okay";

	bluetooth {
		compatible = "brcm,bcm43438-bt";
		clocks = <&hym8563>;
		clock-names = "lpo";
		interrupt-parent = <&gpio0>;
		interrupts = <RK_PA0 IRQ_TYPE_LEVEL_HIGH>;
		interrupt-names = "host-wakeup";
		device-wakeup-gpios = <&gpio0 RK_PC5 GPIO_ACTIVE_HIGH>;
		shutdown-gpios = <&gpio0 RK_PC6 GPIO_ACTIVE_HIGH>;
		max-speed = <1500000>;
		pinctrl-names = "default";
		pinctrl-0 = <&bt_wake_host_irq &bt_wake_pin &bt_reset_pin>;
		vbat-supply = <&vcc_3v3_s3>;
		vddio-supply = <&vcc_1v8_s3>;
	};
};

&usbdp_phy0 {
	mode-switch;
	orientation-switch;
	sbu1-dc-gpios = <&gpio4 RK_PA6 GPIO_ACTIVE_HIGH>;
	sbu2-dc-gpios = <&gpio4 RK_PA7 GPIO_ACTIVE_HIGH>;
	status = "okay";

	port {
		#address-cells = <1>;
		#size-cells = <0>;

		usbdp_phy0_orientation_switch: endpoint@0 {
			reg = <0>;
			remote-endpoint = <&usbc0_orien_sw>;
		};

		usbdp_phy0_dp_altmode_mux: endpoint@1 {
			reg = <1>;
			remote-endpoint = <&dp_altmode_mux>;
		};
	};
};

&usbdp_phy1 {
	phy-supply = <&vcc5v0_usb>;
	status = "okay";
};

&usb_host0_ehci {
	status = "okay";
};

&usb_host0_ohci {
	status = "okay";
};

&usb_host0_xhci {
	dr_mode = "otg";
	usb-role-switch;
	status = "okay";

	port {
		usb_host0_xhci_drd_sw: endpoint {
			remote-endpoint = <&usbc0_role_sw>;
		};
	};
};

&usb_host1_ehci {
	status = "okay";
};

&usb_host1_ohci {
	status = "okay";
};

&usb_host1_xhci {
	dr_mode = "host";
	status = "okay";
};

&vepu121_0 {
	status = "okay";
};

&vepu121_0_mmu {
	status = "okay";
};

&vepu121_1 {
	status = "okay";
};

&vepu121_1_mmu {
	status = "okay";
};

&vepu121_2 {
	status = "okay";
};

&vepu121_2_mmu {
	status = "okay";
};

&vepu121_3 {
	status = "okay";
};

&vepu121_3_mmu {
	status = "okay";
};

/*
 * Camera capture paths. Mainline has no rk3588 ISP support, so the
 * vicap pipeline only provides raw capture.
 */
&vicap {
	status = "okay";
};

&vicap_mmu {
	status = "okay";
};

&vop {
	status = "okay";
};

&vop_mmu {
	status = "okay";
};

&vp1 {
	vp1_out_hdmi1: endpoint@ROCKCHIP_VOP2_EP_HDMI1 {
		reg = <ROCKCHIP_VOP2_EP_HDMI1>;
		remote-endpoint = <&hdmi1_in_vp1>;
	};
};

&vp2 {
	vp2_out_edp0: endpoint@ROCKCHIP_VOP2_EP_EDP0 {
		reg = <ROCKCHIP_VOP2_EP_EDP0>;
		remote-endpoint = <&edp0_in_vp2>;
	};
};

/* H.264/H.265/JPEG codec and AV1 decoder */
&vpu121 {
	status = "okay";
};

&vpu121_mmu {
	status = "okay";
};
